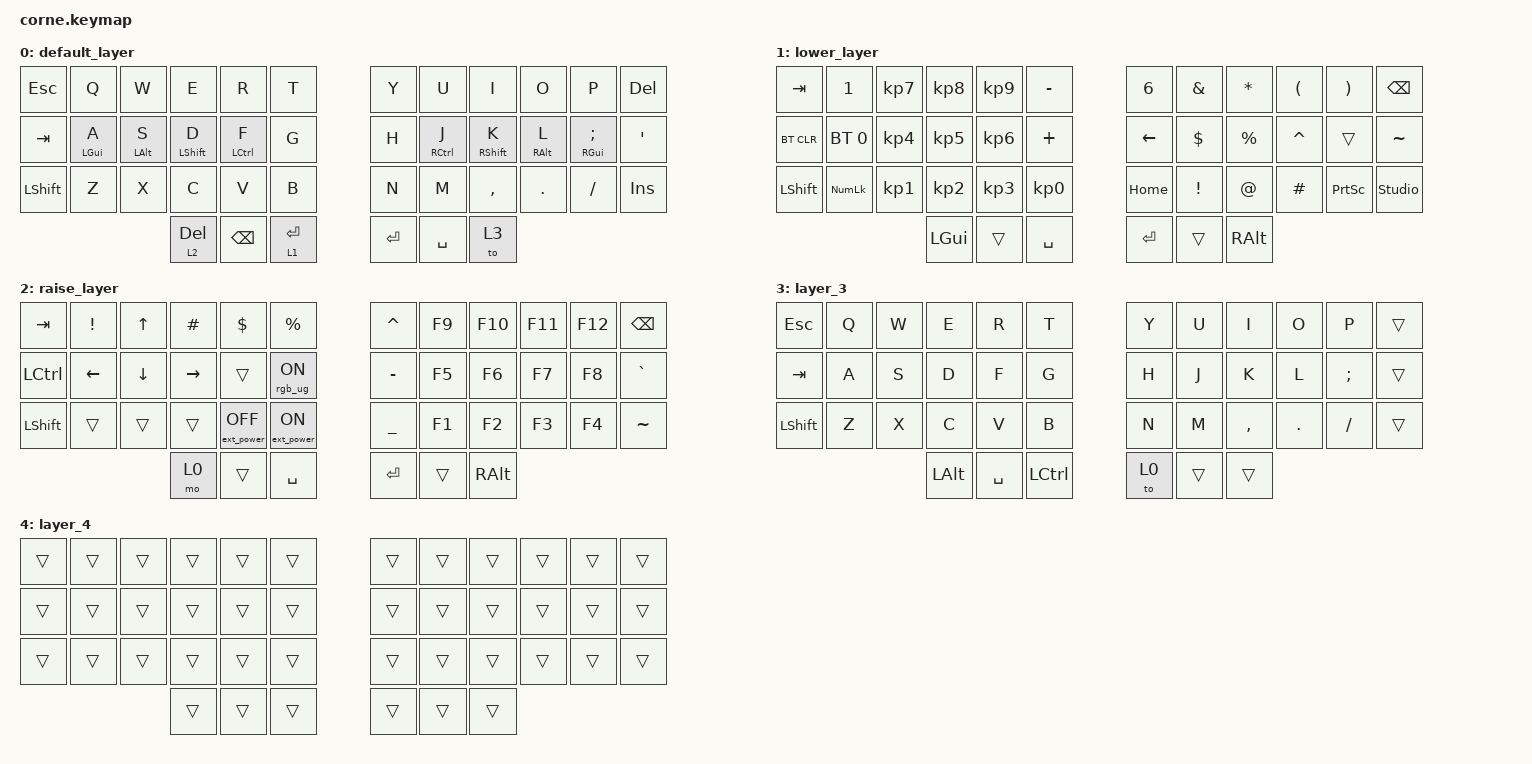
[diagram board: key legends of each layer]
/*
 * Copyright (c) 2020 The ZMK Contributors
 *
 * SPDX-License-Identifier: MIT
 */

#include <behaviors.dtsi>
#include <dt-bindings/zmk/bt.h>
#include <dt-bindings/zmk/ext_power.h>
#include <dt-bindings/zmk/keys.h>
#include <dt-bindings/zmk/rgb.h>

/ {
    behaviors {
        hml: hml {
            compatible = "zmk,behavior-hold-tap";
            label = "HML";
            bindings = <&kp>, <&kp>;

            #binding-cells = <2>;
            tapping-term-ms = <280>;
            quick-tap-ms = <175>;
            flavor = "balanced";
            hold-trigger-key-positions = <36 37 38 6 7 8 9 10 11 18 19 20 21 22 23 30 31 32 33 34 35 39 40 41>;
            hold-trigger-on-release;
        };

        hmr: hmr {
            compatible = "zmk,behavior-hold-tap";
            label = "HMR";
            bindings = <&kp>, <&kp>;

            #binding-cells = <2>;
            tapping-term-ms = <280>;
            quick-tap-ms = <175>;
            flavor = "balanced";
            hold-trigger-on-release;
            hold-trigger-key-positions = <39 40 41 0 1 2 3 4 5 12 13 14 15 16 17 24 25 26 27 28 29 36 37 38>;
        };
    };

    keymap {
        compatible = "zmk,keymap";

        default_layer {
            // -----------------------------------------------------------------------------------------
            // |  TAB |  Q  |  W  |  E  |  R  |  T  |   |  Y  |  U   |  I  |  O  |  P  | BSPC |
            // | CTRL |  A  |  S  |  D  |  F  |  G  |   |  H  |  J   |  K  |  L  |  ;  |  '   |
            // | SHFT |  Z  |  X  |  C  |  V  |  B  |   |  N  |  M   |  ,  |  .  |  /  | ESC  |
            //                    | GUI | LWR | SPC |   | ENT | RSE  | ALT |

            bindings = <
&kp ESCAPE  &kp Q            &kp W            &kp E              &kp R          &kp T          &kp Y      &kp U                 &kp I               &kp O             &kp P                     &kp DELETE
&kp TAB     &hml LEFT_GUI A  &hml LEFT_ALT S  &hml LEFT_SHIFT D  &hml LCTRL F   &kp G          &kp H      &hmr RIGHT_CONTROL J  &hmr RIGHT_SHIFT K  &hmr RIGHT_ALT L  &hmr RIGHT_GUI SEMICOLON  &kp SQT
&kp LSHFT   &kp Z            &kp X            &kp C              &kp V          &kp B          &kp N      &kp M                 &kp COMMA           &kp DOT           &kp SLASH                 &kp INSERT
                                              &lt 2 DEL          &kp BACKSPACE  &lt 1 ENTER    &kp ENTER  &kp SPACE             &to 3
            >;
        };

        lower_layer {
            // -----------------------------------------------------------------------------------------
            // |  TAB |  1  |  2  |  3  |  4  |  5  |   |  6  |  7  |  8  |  9  |  0  | BSPC |
            // | BTCLR| BT1 | BT2 | BT3 | BT4 | BT5 |   | LFT | DWN |  UP | RGT |     |      |
            // | SHFT |     |     |     |     |     |   |     |     |     |     |     |      |
            //                    | GUI |     | SPC |   | ENT |     | ALT |

            bindings = <
&kp TAB     &kp N1          &kp KP_NUMBER_7  &kp KP_NUMBER_8  &kp KP_NUMBER_9  &kp MINUS          &kp N6    &kp AMPERSAND    &kp ASTERISK  &kp LEFT_PARENTHESIS  &kp RIGHT_PARENTHESIS  &kp BSPC
&bt BT_CLR  &bt BT_SEL 0    &kp KP_NUMBER_4  &kp KP_NUMBER_5  &kp KP_NUMBER_6  &kp PLUS           &kp LEFT  &kp DOLLAR       &kp PERCENT   &kp CARET             &trans                 &kp TILDE
&kp LSHFT   &kp KP_NUMLOCK  &kp KP_NUMBER_1  &kp KP_NUMBER_2  &kp KP_NUMBER_3  &kp KP_NUMBER_0    &kp HOME  &kp EXCLAMATION  &kp AT_SIGN   &kp HASH              &kp PRINTSCREEN        &studio_unlock
                                             &kp LGUI         &trans           &kp SPACE          &kp RET   &trans           &kp RALT
            >;
        };

        raise_layer {
            // -----------------------------------------------------------------------------------------
            // |  TAB |  !  |  @  |  #  |  $  |  %  |   |  ^  |  &  |  *  |  (  |  )  | BSPC |
            // | CTRL |     |     |     |     |     |   |  -  |  =  |  [  |  ]  |  \  |  `   |
            // | SHFT |     |     |     |     |     |   |  _  |  +  |  {  |  }  | "|" |  ~   |
            //                    | GUI |     | SPC |   | ENT |     | ALT |

            bindings = <
&kp TAB    &kp EXCL  &kp UP_ARROW    &kp HASH   &kp DLLR           &kp PRCNT           &kp CARET  &kp F9  &kp F10   &kp F11  &kp F12  &kp BSPC
&kp LCTRL  &kp LEFT  &kp DOWN_ARROW  &kp RIGHT  &trans             &rgb_ug RGB_ON      &kp MINUS  &kp F5  &kp F6    &kp F7   &kp F8   &kp GRAVE
&kp LSHFT  &trans    &trans          &trans     &ext_power EP_OFF  &ext_power EP_ON    &kp UNDER  &kp F1  &kp F2    &kp F3   &kp F4   &kp TILDE
                                     &mo 0      &trans             &kp SPACE           &kp RET    &trans  &kp RALT
            >;
        };

        layer_3 {
            bindings = <
&kp ESCAPE      &kp Q  &kp W  &kp E     &kp R      &kp T        &kp Y  &kp U   &kp I      &kp O    &kp P     &trans
&kp TAB         &kp A  &kp S  &kp D     &kp F      &kp G        &kp H  &kp J   &kp K      &kp L    &kp SEMI  &trans
&kp LEFT_SHIFT  &kp Z  &kp X  &kp C     &kp V      &kp B        &kp N  &kp M   &kp COMMA  &kp DOT  &kp FSLH  &trans
                              &kp LALT  &kp SPACE  &kp LCTRL    &to 0  &trans  &trans
            >;
        };

        layer_4 {
            bindings = <
&trans  &trans  &trans  &trans  &trans  &trans    &trans  &trans  &trans  &trans  &trans  &trans
&trans  &trans  &trans  &trans  &trans  &trans    &trans  &trans  &trans  &trans  &trans  &trans
&trans  &trans  &trans  &trans  &trans  &trans    &trans  &trans  &trans  &trans  &trans  &trans
                        &trans  &trans  &trans    &trans  &trans  &trans
            >;
        };
    };
};
